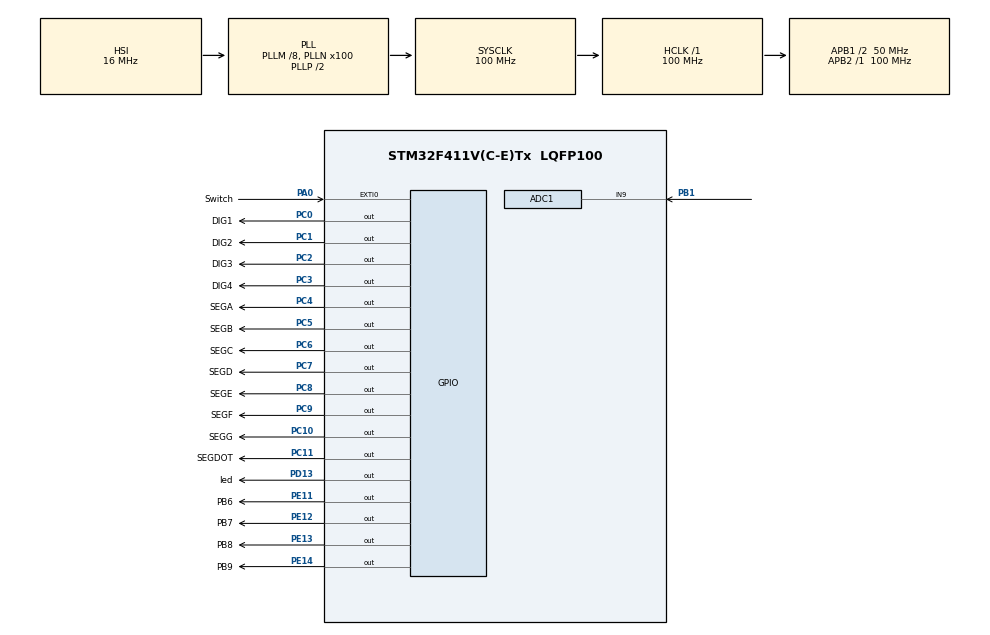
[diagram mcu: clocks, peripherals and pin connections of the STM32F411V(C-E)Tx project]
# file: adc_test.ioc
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ADC1.Channel-0\#ChannelRegularConversion=ADC_CHANNEL_9
ADC1.ClockPrescaler=ADC_CLOCK_SYNC_PCLK_DIV8
ADC1.ContinuousConvMode=ENABLE
ADC1.DMAContinuousRequests=ENABLE
ADC1.NbrOfConversionFlag=1
ADC1.Rank-0\#ChannelRegularConversion=1
ADC1.SamplingTime-0\#ChannelRegularConversion=ADC_SAMPLETIME_480CYCLES
ADC1.ScanConvMode=DISABLE
ADC1.master=1
Dma.ADC1.0.Direction=DMA_PERIPH_TO_MEMORY
Dma.ADC1.0.FIFOMode=DMA_FIFOMODE_DISABLE
Dma.ADC1.0.Instance=DMA2_Stream0
Dma.ADC1.0.MemDataAlignment=DMA_MDATAALIGN_HALFWORD
Dma.ADC1.0.MemInc=DMA_MINC_ENABLE
Dma.ADC1.0.Mode=DMA_CIRCULAR
Dma.ADC1.0.PeriphDataAlignment=DMA_PDATAALIGN_HALFWORD
Dma.ADC1.0.PeriphInc=DMA_PINC_DISABLE
Dma.ADC1.0.Priority=DMA_PRIORITY_LOW
Dma.Request0=ADC1
Mcu.Family=STM32F4
Mcu.Name=STM32F411V(C-E)Tx
Mcu.Package=LQFP100
NVIC.DMA2_Stream0_IRQn=true\:0\:0\:false\:false\:true
NVIC.EXTI0_IRQn=true\:0\:0\:false\:false\:true
NVIC.PriorityGroup=NVIC_PRIORITYGROUP_4
NVIC.TIM1_UP_TIM10_IRQn=true\:0\:0\:false\:false\:true
PA0-WKUP.GPIO_Label=Switch
PA0-WKUP.GPIO_PuPd=GPIO_PULLDOWN
PA0-WKUP.Signal=GPXTI0
PB1.Signal=ADCx_IN9
PC0.GPIO_Label=DIG1
PC0.Signal=GPIO_Output
PC1.GPIO_Label=DIG2
PC1.Signal=GPIO_Output
PC10.GPIO_Label=SEGG
PC10.Signal=GPIO_Output
PC11.GPIO_Label=SEGDOT
PC11.Signal=GPIO_Output
PC2.GPIO_Label=DIG3
PC2.Signal=GPIO_Output
PC3.GPIO_Label=DIG4
PC3.Signal=GPIO_Output
PC4.GPIO_Label=SEGA
PC4.Signal=GPIO_Output
PC5.GPIO_Label=SEGB
PC5.Signal=GPIO_Output
PC6.GPIO_Label=SEGC
PC6.Signal=GPIO_Output
PC7.GPIO_Label=SEGD
PC7.Signal=GPIO_Output
PC8.GPIO_Label=SEGE
PC8.Signal=GPIO_Output
PC9.GPIO_Label=SEGF
PC9.Signal=GPIO_Output
PD13.GPIO_Label=led
PD13.Signal=GPIO_Output
PE11.GPIO_Label=PB6
PE11.Signal=GPIO_Output
PE12.GPIO_Label=PB7
PE12.Signal=GPIO_Output
PE13.GPIO_Label=PB8
PE13.Signal=GPIO_Output
PE14.GPIO_Label=PB9
PE14.Signal=GPIO_Output
PH0\ -\ OSC_IN.Mode=HSE-External-Oscillator
PH0\ -\ OSC_IN.Signal=RCC_OSC_IN
PH1\ -\ OSC_OUT.Mode=HSE-External-Oscillator
PH1\ -\ OSC_OUT.Signal=RCC_OSC_OUT
ProjectManager.HeapSize=0x200
ProjectManager.StackSize=0x400
ProjectManager.TargetToolchain=SW4STM32
RCC.48MHZClocksFreq_Value=50000000
RCC.AHBFreq_Value=100000000
RCC.APB1CLKDivider=RCC_HCLK_DIV2
RCC.APB1Freq_Value=50000000
RCC.APB1TimFreq_Value=100000000
RCC.APB2Freq_Value=100000000
RCC.APB2TimFreq_Value=100000000
RCC.CortexFreq_Value=100000000
RCC.HCLKFreq_Value=100000000
RCC.HSE_VALUE=8000000
RCC.HSI_VALUE=16000000
RCC.LSE_VALUE=32768
RCC.PLLM=8
RCC.PLLN=100
RCC.SYSCLKFreq_VALUE=100000000
RCC.SYSCLKSource=RCC_SYSCLKSOURCE_PLLCLK
RCC.VCOOutputFreq_Value=200000000
SH.ADCx_IN9.0=ADC1_IN9,IN9
TIM10.Period=50
TIM10.Prescaler=10000
VP_TIM10_VS_ClockSourceINT.Mode=Enable_Timer
board=adc_test

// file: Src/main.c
/**
  ******************************************************************************
  * File Name          : main.c
  * Description        : Main program body
  ******************************************************************************
  ** This notice applies to any and all portions of this file
  * that are not between comment pairs USER CODE BEGIN and
  * USER CODE END. Other portions of this file, whether
  * inserted by the user or by software development tools
  * are owned by their respective copyright owners.
  *
  * COPYRIGHT(c) 2017 STMicroelectronics
  *
  * Redistribution and use in source and binary forms, with or without modification,
  * are permitted provided that the following conditions are met:
  *   1. Redistributions of source code must retain the above copyright notice,
  *      this list of conditions and the following disclaimer.
  *   2. Redistributions in binary form must reproduce the above copyright notice,
  *      this list of conditions and the following disclaimer in the documentation
  *      and/or other materials provided with the distribution.
  *   3. Neither the name of STMicroelectronics nor the names of its contributors
  *      may be used to endorse or promote products derived from this software
  *      without specific prior written permission.
  *
  * THIS SOFTWARE IS PROVIDED BY THE COPYRIGHT HOLDERS AND CONTRIBUTORS "AS IS"
  * AND ANY EXPRESS OR IMPLIED WARRANTIES, INCLUDING, BUT NOT LIMITED TO, THE
  * IMPLIED WARRANTIES OF MERCHANTABILITY AND FITNESS FOR A PARTICULAR PURPOSE ARE
  * DISCLAIMED. IN NO EVENT SHALL THE COPYRIGHT HOLDER OR CONTRIBUTORS BE LIABLE
  * FOR ANY DIRECT, INDIRECT, INCIDENTAL, SPECIAL, EXEMPLARY, OR CONSEQUENTIAL
  * DAMAGES (INCLUDING, BUT NOT LIMITED TO, PROCUREMENT OF SUBSTITUTE GOODS OR
  * SERVICES; LOSS OF USE, DATA, OR PROFITS; OR BUSINESS INTERRUPTION) HOWEVER
  * CAUSED AND ON ANY THEORY OF LIABILITY, WHETHER IN CONTRACT, STRICT LIABILITY,
  * OR TORT (INCLUDING NEGLIGENCE OR OTHERWISE) ARISING IN ANY WAY OUT OF THE USE
  * OF THIS SOFTWARE, EVEN IF ADVISED OF THE POSSIBILITY OF SUCH DAMAGE.
  *
  ******************************************************************************
  */
#include "main.h"
#include "stm32f4xx_hal.h"

ADC_HandleTypeDef hadc1;
DMA_HandleTypeDef hdma_adc1;

TIM_HandleTypeDef htim10;

/* USER CODE BEGIN PV */
/* Private variables ---------------------------------------------------------*/
#define SETA HAL_GPIO_WritePin(SEGA_GPIO_Port, SEGA_Pin, GPIO_PIN_RESET)
#define SETB HAL_GPIO_WritePin(SEGB_GPIO_Port, SEGB_Pin, GPIO_PIN_RESET)
#define SETC HAL_GPIO_WritePin(SEGC_GPIO_Port, SEGC_Pin, GPIO_PIN_RESET)
#define SETD HAL_GPIO_WritePin(SEGD_GPIO_Port, SEGD_Pin, GPIO_PIN_RESET)
#define SETE HAL_GPIO_WritePin(SEGE_GPIO_Port, SEGE_Pin, GPIO_PIN_RESET)
#define SETF HAL_GPIO_WritePin(SEGF_GPIO_Port, SEGF_Pin, GPIO_PIN_RESET)
#define SETG HAL_GPIO_WritePin(SEGG_GPIO_Port, SEGG_Pin, GPIO_PIN_RESET)
#define SETDOT HAL_GPIO_WritePin(SEGDOT_GPIO_Port, SEGDOT_Pin, GPIO_PIN_RESET)

#define RESETA HAL_GPIO_WritePin(SEGA_GPIO_Port, SEGA_Pin, GPIO_PIN_SET)
#define RESETB HAL_GPIO_WritePin(SEGB_GPIO_Port, SEGB_Pin, GPIO_PIN_SET)
#define RESETC HAL_GPIO_WritePin(SEGC_GPIO_Port, SEGC_Pin, GPIO_PIN_SET)
#define RESETD HAL_GPIO_WritePin(SEGD_GPIO_Port, SEGD_Pin, GPIO_PIN_SET)
#define RESETE HAL_GPIO_WritePin(SEGE_GPIO_Port, SEGE_Pin, GPIO_PIN_SET)
#define RESETF HAL_GPIO_WritePin(SEGF_GPIO_Port, SEGF_Pin, GPIO_PIN_SET)
#define RESETG HAL_GPIO_WritePin(SEGG_GPIO_Port, SEGG_Pin, GPIO_PIN_SET)
#define RESETDOT HAL_GPIO_WritePin(SEGDOT_GPIO_Port, SEGDOT_Pin, GPIO_PIN_SET)

#define DIG1ON HAL_GPIO_WritePin(DIG1_GPIO_Port, DIG1_Pin, GPIO_PIN_SET)
#define DIG2ON HAL_GPIO_WritePin(DIG2_GPIO_Port, DIG2_Pin, GPIO_PIN_SET)
#define DIG3ON HAL_GPIO_WritePin(DIG3_GPIO_Port, DIG3_Pin, GPIO_PIN_SET)
#define DIG4ON HAL_GPIO_WritePin(DIG4_GPIO_Port, DIG4_Pin, GPIO_PIN_SET)

#define DIG1OFF HAL_GPIO_WritePin(DIG1_GPIO_Port, DIG1_Pin, GPIO_PIN_RESET)
#define DIG2OFF HAL_GPIO_WritePin(DIG2_GPIO_Port, DIG2_Pin, GPIO_PIN_RESET)
#define DIG3OFF HAL_GPIO_WritePin(DIG3_GPIO_Port, DIG3_Pin, GPIO_PIN_RESET)
#define DIG4OFF HAL_GPIO_WritePin(DIG4_GPIO_Port, DIG4_Pin, GPIO_PIN_RESET)

#define INPUT 0
#define OUTPUT 1

uint16_t photoresistor, adc_display_flag;
int8_t dig1, dig2, dig3, dig4;

/* USER CODE END PV */

void SystemClock_Config(void);
static void MX_GPIO_Init(void);
static void MX_DMA_Init(void);
static void MX_ADC1_Init(void);
static void MX_TIM10_Init(void);

/* USER CODE BEGIN PFP */
/* Private function prototypes -----------------------------------------------*/
void bcd2seg(int8_t digit) {
	RESETA;
	RESETB;
	RESETC;
	RESETD;
	RESETE;
	RESETF;
	RESETG;
	RESETDOT;
	switch (digit) {
	case 0:
		SETA;
		SETB;
		SETC;
		SETD;
		SETE;
		SETF;
		break;
	case 1:
		SETB;
		SETC;
		break;
	case 2:
		SETA;
		SETB;
		SETG;
		SETE;
		SETD;
		break;
	case 3:
		SETA;
		SETB;
		SETG;
		SETC;
		SETD;
		break;
	case 4:
		SETF;
		SETG;
		SETB;
		SETC;
		break;
	case 5:
		SETA;
		SETF;
		SETG;
		SETC;
		SETD;
		break;
	case 6:
		SETF;
		SETE;
		SETD;
		SETC;
		SETG;
		break;
	case 7:
		SETA;
		SETB;
		SETC;
		break;
	case 8:
		SETA;
		SETB;
		SETC;
		SETD;
		SETE;
		SETF;
		SETG;
		break;
	case 9:
		SETA;
		SETB;
		SETC;
		SETF;
		SETG;
		break;
	// with DOT
	case 10:
		SETA;
		SETB;
		SETC;
		SETD;
		SETE;
		SETF;
		SETDOT;
		break;
	case 11:
		SETB;
		SETC;
		SETDOT;
		break;
	case 12:
		SETA;
		SETB;
		SETG;
		SETE;
		SETD;
		SETDOT;
		break;
	case 13:
		SETA;
		SETB;
		SETG;
		SETC;
		SETD;
		SETDOT;
		break;
	case 14:
		SETF;
		SETG;
		SETB;
		SETC;
		SETDOT;
		break;
	case 15:
		SETA;
		SETF;
		SETG;
		SETC;
		SETD;
		SETDOT;
		break;
	case 16:
		SETF;
		SETE;
		SETD;
		SETC;
		SETG;
		SETDOT;
		break;
	case 17:
		SETA;
		SETB;
		SETC;
		SETDOT;
		break;
	case 18:
		SETA;
		SETB;
		SETC;
		SETD;
		SETE;
		SETF;
		SETG;
		SETDOT;
		break;
	case 19:
		SETA;
		SETB;
		SETC;
		SETF;
		SETG;
		SETDOT;
		break;
	// middle segment SET with dot (20) and without (21)
	case 20:
		SETG;
		SETDOT;
		break;
	case 21:
		SETG;
		break;
	default:
		RESETA;
		RESETB;
		RESETC;
		RESETD;
		RESETE;
		RESETF;
		RESETG;
		RESETDOT;
		break;
	}
}
void number2dig(uint16_t number) {
	uint8_t temp_dig2, temp_dig3, temp_dig4;

	temp_dig4 = (number / 1000);
	dig4 = temp_dig4;
	if (!temp_dig4) {
		if (number < 1000)
			dig4 = -1;
	}

	temp_dig3 = ((number - temp_dig4 * 1000) / 100);
	dig3 = temp_dig3 + 10; //for digit with DOT
	if (!temp_dig3)
		if (number < 100)
			dig3 = -1;

	temp_dig2 = ((number - temp_dig4 * 1000 - temp_dig3 * 100) / 10);
	dig2 = temp_dig2;
	if (!temp_dig2)
		if (number < 10)
			dig2 = -1;

	dig1 = (number - temp_dig4 * 1000 - temp_dig3 * 100 - temp_dig2 * 10);
}

void seconds2dig(uint16_t seconds) {
	uint8_t temp4, temp2, minutes, sec;

	minutes = seconds / 60;
	sec = seconds - minutes * 60;

	if (minutes < 10) {
		dig4 = -1;
		temp4 = 0;
	} else {
		dig4 = minutes / 10;
		temp4 = dig4;
	}

	if (minutes < 1) {
		dig3 = -1;
	} else {
		dig3 = minutes - (temp4 * 10) + 10; //with DOT
	}

	if (seconds < 10) {
		dig2 = -1;
		temp2 = 0;
	} else {
		dig2 = sec / 10;
		temp2 = dig2;
	}

	dig1 = sec - temp2 * 10;

}

void change_state(GPIO_TypeDef* GPIO, uint16_t Pin, uint8_t state) {
	GPIO_InitTypeDef GPIO_InitStruct;
	switch(state) {
	case INPUT:
		GPIO_InitStruct.Pin = Pin;
		GPIO_InitStruct.Mode = GPIO_MODE_INPUT;
		GPIO_InitStruct.Pull = GPIO_NOPULL;
		break;
	case OUTPUT:
		GPIO_InitStruct.Pin = Pin;
		GPIO_InitStruct.Mode = GPIO_MODE_OUTPUT_PP;
		GPIO_InitStruct.Pull = GPIO_NOPULL;
		GPIO_InitStruct.Speed = GPIO_SPEED_FREQ_LOW;
		break;
	}
	HAL_GPIO_Init(GPIO, &GPIO_InitStruct);
}
void HAL_GPIO_EXTI_Callback(uint16_t GPIO_Pin) {
	if (GPIO_Pin == Switch_Pin) {
		adc_display_flag = 1;
	}
}

void HAL_TIM_PeriodElapsedCallback(TIM_HandleTypeDef *htim) {
	HAL_GPIO_TogglePin(led_GPIO_Port, led_Pin);

	if (htim->Instance == TIM10) {
		static uint16_t cnt1hz = 0;
		static uint8_t segment = 1;
		static uint16_t counter = 0;

		DIG1OFF;
		DIG2OFF;
		DIG3OFF;
		DIG4OFF;

		cnt1hz++;
		if (cnt1hz == 200) {
			cnt1hz = 0;
			counter++;
			if (counter == 6000) {
				counter = 0;
			}
		}

		if (adc_display_flag) {
			number2dig(photoresistor);
		} else {
			seconds2dig(counter);
		}

		switch (segment) {
		case 1:
			DIG1ON;
			bcd2seg(dig1);
//			change_state(PB7_GPIO_Port, PB7_Pin, OUTPUT);
//			change_state(PB8_GPIO_Port, PB8_Pin, INPUT);
//			change_state(PB9_GPIO_Port, PB9_Pin, INPUT);
			break;
		case 2:
			DIG2ON;
			bcd2seg(dig2);
//			change_state(PB8_GPIO_Port, PB8_Pin, OUTPUT);
//			change_state(PB7_GPIO_Port, PB7_Pin, INPUT);
//			change_state(PB9_GPIO_Port, PB9_Pin, INPUT);
			break;
		case 3:
			DIG3ON;
			bcd2seg(dig3);
//			change_state(PB9_GPIO_Port, PB9_Pin, OUTPUT);
//			change_state(PB7_GPIO_Port, PB7_Pin, INPUT);
//			change_state(PB8_GPIO_Port, PB8_Pin, INPUT);
			break;
		case 4:
			DIG4ON;
			bcd2seg(dig4);
			break;
		}

		segment++;
		if (segment > 4)
			segment = 1;
	}
}
//void HAL_SYSTICK_Callback(void) { //1kHz
//	static uint8_t cnt200hz = 0;
//	static uint16_t cnt1hz = 0;
//	static uint8_t segment = 1;
//	static uint16_t counter = 0;
//
//	cnt200hz++;
//	cnt1hz++;
//
//	if (cnt1hz == 1000) {
//		cnt1hz = 0;
//		counter++;
//		if (counter == 6000) {
//			counter = 0;
//		}
//	}
//
//	if (cnt200hz == 5) {
//		cnt200hz = 0;
//		DIG1OFF;
//		DIG2OFF;
//		DIG3OFF;
//		DIG4OFF;
//
//		if (adc_display_flag) {
//			number2dig(photoresistor);
//		} else {
//			seconds2dig(counter);
//		}
//
//		switch (segment) {
//		case 1:
//			DIG1ON;
//			bcd2seg(dig1);
////			change_state(PB7_GPIO_Port, PB7_Pin, OUTPUT);
////			change_state(PB8_GPIO_Port, PB8_Pin, INPUT);
////			change_state(PB9_GPIO_Port, PB9_Pin, INPUT);
//			break;
//		case 2:
//			DIG2ON;
//			bcd2seg(dig2);
////			change_state(PB8_GPIO_Port, PB8_Pin, OUTPUT);
////			change_state(PB7_GPIO_Port, PB7_Pin, INPUT);
////			change_state(PB9_GPIO_Port, PB9_Pin, INPUT);
//			break;
//		case 3:
//			DIG3ON;
//			bcd2seg(dig3);
////			change_state(PB9_GPIO_Port, PB9_Pin, OUTPUT);
////			change_state(PB7_GPIO_Port, PB7_Pin, INPUT);
////			change_state(PB8_GPIO_Port, PB8_Pin, INPUT);
//			break;
//		case 4:
//			DIG4ON;
//			bcd2seg(dig4);
//			break;
//		}
//
//		segment++;
//		if (segment > 4)
//			segment = 1;
//
//	}
//}

/* USER CODE END PFP */

int main(void)
{

  /* MCU Configuration----------------------------------------------------------*/

  /* Reset of all peripherals, Initializes the Flash interface and the Systick. */
  HAL_Init();

  /* Configure the system clock */
  SystemClock_Config();

  /* Initialize all configured peripherals */
  MX_GPIO_Init();
  MX_DMA_Init();
  MX_ADC1_Init();
  MX_TIM10_Init();

  /* USER CODE BEGIN 2 */
	HAL_ADC_Start_DMA(&hadc1, (uint32_t*) &photoresistor, 1);
	HAL_TIM_Base_Start_IT(&htim10);

//	HAL_GPIO_WritePin(PB6_GPIO_Port, PB6_Pin, GPIO_PIN_SET);

  /* USER CODE END 2 */

  /* Infinite loop */
  /* USER CODE BEGIN WHILE */
	while (1) {

//		change_state(PB7_GPIO_Port, PB7_Pin, OUTPUT);
//		change_state(PB8_GPIO_Port, PB8_Pin, INPUT);
//		change_state(PB9_GPIO_Port, PB9_Pin, INPUT);
//		HAL_Delay(1000);

//		change_state(PB8_GPIO_Port, PB8_Pin, OUTPUT);
//		change_state(PB7_GPIO_Port, PB7_Pin, INPUT);
//		change_state(PB9_GPIO_Port, PB9_Pin, INPUT);
//		HAL_Delay(1000);

//		change_state(PB9_GPIO_Port, PB9_Pin, OUTPUT);
//		change_state(PB7_GPIO_Port, PB7_Pin, INPUT);
//		change_state(PB8_GPIO_Port, PB8_Pin, INPUT);
//		HAL_Delay(1000);
  /* USER CODE END WHILE */

	}

}

/** System Clock Configuration
*/
void SystemClock_Config(void)
{

  RCC_OscInitTypeDef RCC_OscInitStruct;
  RCC_ClkInitTypeDef RCC_ClkInitStruct;

    /**Configure the main internal regulator output voltage
    */
  __HAL_RCC_PWR_CLK_ENABLE();

  __HAL_PWR_VOLTAGESCALING_CONFIG(PWR_REGULATOR_VOLTAGE_SCALE1);

    /**Initializes the CPU, AHB and APB busses clocks
    */
  RCC_OscInitStruct.OscillatorType = RCC_OSCILLATORTYPE_HSI;
  RCC_OscInitStruct.HSIState = RCC_HSI_ON;
  RCC_OscInitStruct.HSICalibrationValue = 16;
  RCC_OscInitStruct.PLL.PLLState = RCC_PLL_ON;
  RCC_OscInitStruct.PLL.PLLSource = RCC_PLLSOURCE_HSI;
  RCC_OscInitStruct.PLL.PLLM = 8;
  RCC_OscInitStruct.PLL.PLLN = 100;
  RCC_OscInitStruct.PLL.PLLP = RCC_PLLP_DIV2;
  RCC_OscInitStruct.PLL.PLLQ = 4;
  if (HAL_RCC_OscConfig(&RCC_OscInitStruct) != HAL_OK)
  {
    _Error_Handler(__FILE__, __LINE__);
  }

    /**Initializes the CPU, AHB and APB busses clocks
    */
  RCC_ClkInitStruct.ClockType = RCC_CLOCKTYPE_HCLK|RCC_CLOCKTYPE_SYSCLK
                              |RCC_CLOCKTYPE_PCLK1|RCC_CLOCKTYPE_PCLK2;
  RCC_ClkInitStruct.SYSCLKSource = RCC_SYSCLKSOURCE_PLLCLK;
  RCC_ClkInitStruct.AHBCLKDivider = RCC_SYSCLK_DIV1;
  RCC_ClkInitStruct.APB1CLKDivider = RCC_HCLK_DIV2;
  RCC_ClkInitStruct.APB2CLKDivider = RCC_HCLK_DIV1;

  if (HAL_RCC_ClockConfig(&RCC_ClkInitStruct, FLASH_LATENCY_3) != HAL_OK)
  {
    _Error_Handler(__FILE__, __LINE__);
  }

    /**Configure the Systick interrupt time
    */
  HAL_SYSTICK_Config(HAL_RCC_GetHCLKFreq()/1000);

    /**Configure the Systick
    */
  HAL_SYSTICK_CLKSourceConfig(SYSTICK_CLKSOURCE_HCLK);

  /* SysTick_IRQn interrupt configuration */
  HAL_NVIC_SetPriority(SysTick_IRQn, 0, 0);
}

/* ADC1 init function */
static void MX_ADC1_Init(void)
{

  ADC_ChannelConfTypeDef sConfig;

    /**Configure the global features of the ADC (Clock, Resolution, Data Alignment and number of conversion)
    */
  hadc1.Instance = ADC1;
  hadc1.Init.ClockPrescaler = ADC_CLOCK_SYNC_PCLK_DIV8;
  hadc1.Init.Resolution = ADC_RESOLUTION_12B;
  hadc1.Init.ScanConvMode = DISABLE;
  hadc1.Init.ContinuousConvMode = ENABLE;
  hadc1.Init.DiscontinuousConvMode = DISABLE;
  hadc1.Init.ExternalTrigConvEdge = ADC_EXTERNALTRIGCONVEDGE_NONE;
  hadc1.Init.ExternalTrigConv = ADC_SOFTWARE_START;
  hadc1.Init.DataAlign = ADC_DATAALIGN_RIGHT;
  hadc1.Init.NbrOfConversion = 1;
  hadc1.Init.DMAContinuousRequests = ENABLE;
  hadc1.Init.EOCSelection = ADC_EOC_SINGLE_CONV;
  if (HAL_ADC_Init(&hadc1) != HAL_OK)
  {
    _Error_Handler(__FILE__, __LINE__);
  }

    /**Configure for the selected ADC regular channel its corresponding rank in the sequencer and its sample time.
    */
  sConfig.Channel = ADC_CHANNEL_9;
  sConfig.Rank = 1;
  sConfig.SamplingTime = ADC_SAMPLETIME_480CYCLES;
  if (HAL_ADC_ConfigChannel(&hadc1, &sConfig) != HAL_OK)
  {
    _Error_Handler(__FILE__, __LINE__);
  }

}

/* TIM10 init function */
static void MX_TIM10_Init(void)
{

  htim10.Instance = TIM10;
  htim10.Init.Prescaler = 10000;
  htim10.Init.CounterMode = TIM_COUNTERMODE_UP;
  htim10.Init.Period = 50;
  htim10.Init.ClockDivision = TIM_CLOCKDIVISION_DIV1;
  if (HAL_TIM_Base_Init(&htim10) != HAL_OK)
  {
    _Error_Handler(__FILE__, __LINE__);
  }

}

static void MX_DMA_Init(void)
{
  /* DMA controller clock enable */
  __HAL_RCC_DMA2_CLK_ENABLE();

  /* DMA interrupt init */
  /* DMA2_Stream0_IRQn interrupt configuration */
  HAL_NVIC_SetPriority(DMA2_Stream0_IRQn, 0, 0);
  HAL_NVIC_EnableIRQ(DMA2_Stream0_IRQn);

}

/** Configure pins as
        * Analog
        * Input
        * Output
        * EVENT_OUT
        * EXTI
*/
static void MX_GPIO_Init(void)
{

  GPIO_InitTypeDef GPIO_InitStruct;

  /* GPIO Ports Clock Enable */
  __HAL_RCC_GPIOH_CLK_ENABLE();
  __HAL_RCC_GPIOC_CLK_ENABLE();
  __HAL_RCC_GPIOA_CLK_ENABLE();
  __HAL_RCC_GPIOB_CLK_ENABLE();
  __HAL_RCC_GPIOE_CLK_ENABLE();
  __HAL_RCC_GPIOD_CLK_ENABLE();

  /*Configure GPIO pin Output Level */
  HAL_GPIO_WritePin(GPIOC, DIG1_Pin|DIG2_Pin|DIG3_Pin|DIG4_Pin
                          |SEGA_Pin|SEGB_Pin|SEGC_Pin|SEGD_Pin
                          |SEGE_Pin|SEGF_Pin|SEGG_Pin|SEGDOT_Pin, GPIO_PIN_RESET);

  /*Configure GPIO pin Output Level */
  HAL_GPIO_WritePin(GPIOE, PB6_Pin|PB7_Pin|PB8_Pin|PB9_Pin, GPIO_PIN_RESET);

  /*Configure GPIO pin Output Level */
  HAL_GPIO_WritePin(led_GPIO_Port, led_Pin, GPIO_PIN_RESET);

  /*Configure GPIO pins : DIG1_Pin DIG2_Pin DIG3_Pin DIG4_Pin
                           SEGA_Pin SEGB_Pin SEGC_Pin SEGD_Pin
                           SEGE_Pin SEGF_Pin SEGG_Pin SEGDOT_Pin */
  GPIO_InitStruct.Pin = DIG1_Pin|DIG2_Pin|DIG3_Pin|DIG4_Pin
                          |SEGA_Pin|SEGB_Pin|SEGC_Pin|SEGD_Pin
                          |SEGE_Pin|SEGF_Pin|SEGG_Pin|SEGDOT_Pin;
  GPIO_InitStruct.Mode = GPIO_MODE_OUTPUT_PP;
  GPIO_InitStruct.Pull = GPIO_NOPULL;
  GPIO_InitStruct.Speed = GPIO_SPEED_FREQ_LOW;
  HAL_GPIO_Init(GPIOC, &GPIO_InitStruct);

  /*Configure GPIO pin : Switch_Pin */
  GPIO_InitStruct.Pin = Switch_Pin;
  GPIO_InitStruct.Mode = GPIO_MODE_IT_RISING;
  GPIO_InitStruct.Pull = GPIO_PULLDOWN;
  HAL_GPIO_Init(Switch_GPIO_Port, &GPIO_InitStruct);

  /*Configure GPIO pins : PB6_Pin PB7_Pin PB8_Pin PB9_Pin */
  GPIO_InitStruct.Pin = PB6_Pin|PB7_Pin|PB8_Pin|PB9_Pin;
  GPIO_InitStruct.Mode = GPIO_MODE_OUTPUT_PP;
  GPIO_InitStruct.Pull = GPIO_NOPULL;
  GPIO_InitStruct.Speed = GPIO_SPEED_FREQ_LOW;
  HAL_GPIO_Init(GPIOE, &GPIO_InitStruct);

  /*Configure GPIO pin : led_Pin */
  GPIO_InitStruct.Pin = led_Pin;
  GPIO_InitStruct.Mode = GPIO_MODE_OUTPUT_PP;
  GPIO_InitStruct.Pull = GPIO_NOPULL;
  GPIO_InitStruct.Speed = GPIO_SPEED_FREQ_LOW;
  HAL_GPIO_Init(led_GPIO_Port, &GPIO_InitStruct);

  /* EXTI interrupt init*/
  HAL_NVIC_SetPriority(EXTI0_IRQn, 0, 0);
  HAL_NVIC_EnableIRQ(EXTI0_IRQn);

}

void _Error_Handler(char * file, int line)
{
	while (1) {
	}
}

/************************ (C) COPYRIGHT STMicroelectronics *****END OF FILE****/
